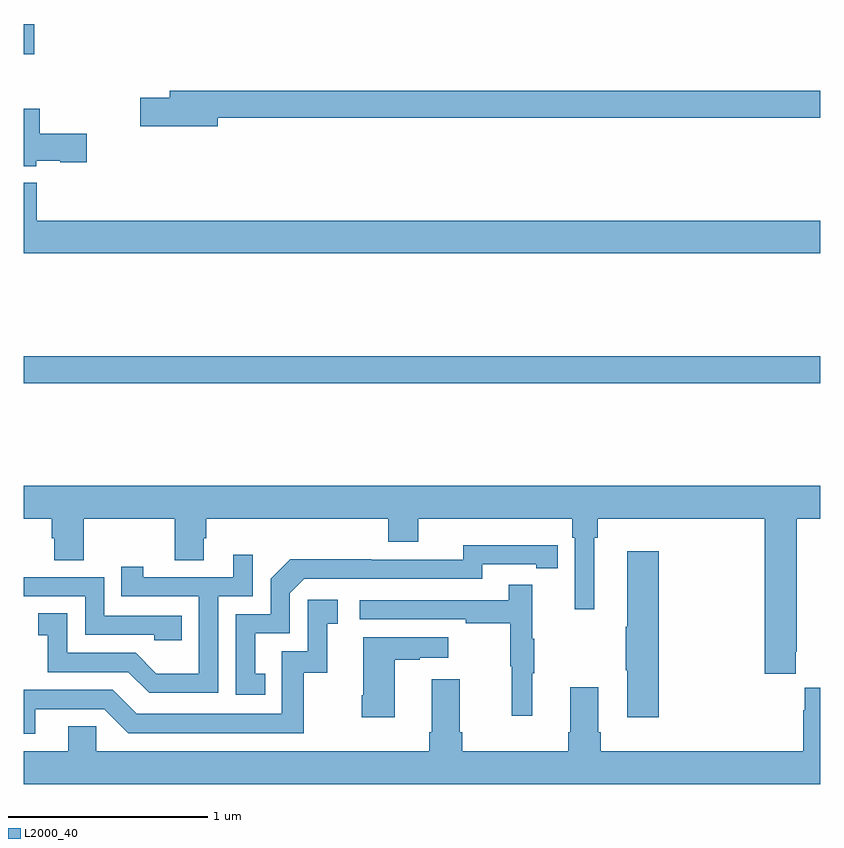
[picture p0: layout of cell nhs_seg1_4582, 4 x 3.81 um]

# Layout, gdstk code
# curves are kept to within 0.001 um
import gdstk
lib = gdstk.Library(unit=1e-6, precision=1e-09)
def R(c, l, rs):  # rectangles x0, y0, x1, y1
    for r in rs: c.add(gdstk.rectangle(r[:2], r[2:], *l))
def P(c, l, *ps):  # polygons
    for p in ps: c.add(gdstk.Polygon(p, *l))
L2000_40 = (2000, 40)

nhs_seg1_4582 = lib.new_cell('nhs_seg1_4582')
R(nhs_seg1_4582, L2000_40, [(359,568.396,363,568.532), (359,570.048,359.054,570.199)])
P(nhs_seg1_4582, L2000_40, [(359.974,569.728),(363,569.728),(363,569.864),(359.735,569.864),(359.735,569.828),(359.586,569.828),(359.586,569.686),(359.974,569.686)],
  [(359.064,569.513),(359.184,569.513),(359.184,569.506),(359.317,569.506),(359.317,569.648),(359.081,569.648),(359.081,569.773),(359,569.773),(359,569.486),(359.064,569.486)],
  [(363,569.212),(359.066,569.212),(359.066,569.401),(359,569.401),(359,569.048),(363,569.048)],
  [(362.875,567.049),(362.88,567.049),(362.88,567.716),(363,567.716),(363,567.88),(359,567.88),(359,567.716),(359.141,567.716),(359.141,567.618),(359.153,567.618),(359.153,567.508),(359.301,567.508),(359.301,567.716),(359.758,567.716),(359.758,567.508),(359.905,567.508),(359.905,567.618),(359.918,567.618),(359.918,567.716),(360.83,567.716),(360.83,567.599),(360.982,567.599),(360.982,567.716),(361.754,567.716),(361.754,567.62),(361.767,567.62),(361.767,567.261),(361.864,567.261),(361.864,567.62),(361.883,567.62),(361.883,567.716),(362.72,567.716),(362.72,566.937),(362.875,566.937)],
  [(360.212,566.937),(360.163,566.937),(360.163,567.141),(360.336,567.141),(360.336,567.342),(360.408,567.414),(361.302,567.414),(361.302,567.486),(361.574,567.486),(361.574,567.466),(361.682,567.466),(361.682,567.582),(361.206,567.583),(361.206,567.51),(360.746,567.51),(360.746,567.512),(360.338,567.512),(360.24,567.414),(360.24,567.237),(360.066,567.237),(360.066,566.832),(360.212,566.832)],
  [(362.189,567.553),(362.03,567.553),(362.03,567.173),(362.023,567.173),(362.023,566.956),(362.03,566.956),(362.03,566.718),(362.189,566.718)],
  [(359.976,567.327),(360.15,567.327),(360.15,567.535),(360.053,567.535),(360.053,567.423),(359.602,567.423),(359.602,567.475),(359.491,567.475),(359.491,567.327),(359.88,567.327),(359.88,566.938),(359.666,566.938),(359.562,567.042),(359.22,567.042),(359.22,567.241),(359.073,567.241),(359.073,567.131),(359.122,567.131),(359.122,566.946),(359.525,566.946),(359.63,566.841),(359.976,566.841)],
  [(359.795,567.228),(359.406,567.228),(359.406,567.423),(359,567.423),(359,567.327),(359.31,567.327),(359.31,567.132),(359.655,567.132),(359.655,567.105),(359.795,567.105)],
  [(361.553,566.939),(361.564,566.939),(361.564,567.113),(361.553,567.113),(361.553,567.385),(361.435,567.385),(361.435,567.306),(360.687,567.306),(360.687,567.21),(361.219,567.21),(361.219,567.19),(361.443,567.19),(361.443,566.976),(361.45,566.976),(361.45,566.727),(361.553,566.727)],
  [(359.059,566.76),(359.406,566.76),(359.526,566.64),(360.406,566.64),(360.406,566.943),(360.524,566.943),(360.524,567.189),(360.577,567.189),(360.577,567.31),(360.426,567.31),(360.426,567.051),(360.297,567.051),(360.297,566.736),(359.568,566.736),(359.448,566.856),(359,566.856),(359,566.637),(359.059,566.637)],
  [(360.862,567.007),(360.989,567.007),(360.989,567.017),(361.132,567.017),(361.132,567.121),(360.704,567.121),(360.704,566.83),(360.697,566.83),(360.697,566.718),(360.862,566.718)],
  [(363,566.866),(362.921,566.866),(362.921,566.753),(362.915,566.753),(362.915,566.548),(361.898,566.548),(361.898,566.644),(361.885,566.644),(361.885,566.869),(361.745,566.869),(361.745,566.644),(361.733,566.644),(361.733,566.548),(361.202,566.548),(361.202,566.644),(361.189,566.644),(361.189,566.911),(361.049,566.911),(361.049,566.644),(361.037,566.644),(361.037,566.548),(359.364,566.548),(359.364,566.675),(359.225,566.675),(359.225,566.548),(359,566.548),(359,566.384),(363,566.384)])

lib.write_gds('nhs_seg1_4582.gds')
